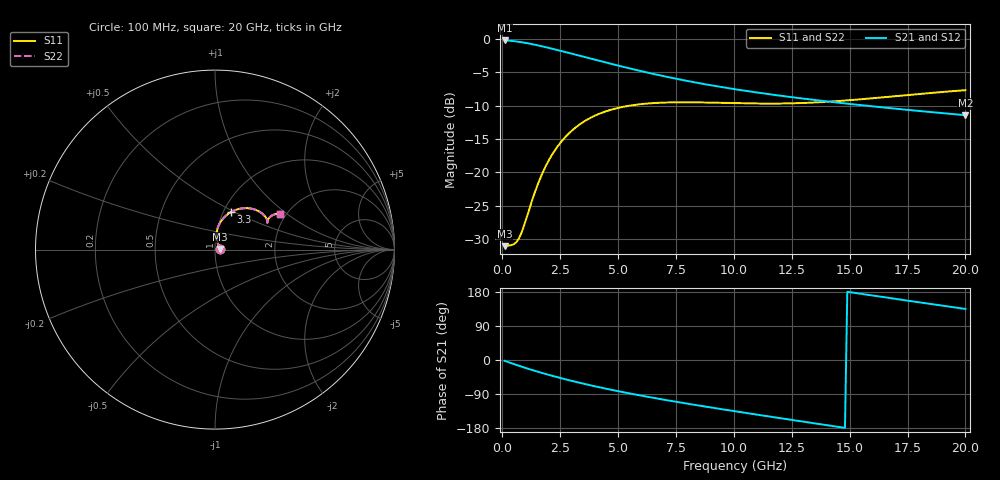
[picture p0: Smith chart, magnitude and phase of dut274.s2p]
! Touchstone file exported from HFSS 2024.1.0
!  File:  C:/UserFiles/LocalFiles/RDL_TSV_Batchsim/temp_RDL_TSV_274_1779462629.aedt
!  Generated:  11:26:38 PM May 22, 2026
!  Design:  RDL_TSV
!  Project:  temp_RDL_TSV_274_1779462629
!  Setup:  Setup1
!  Solution:  Sweep
! Variables:
!  dtsv = 13.28um
!  hbump = 3um
!  htsv = 79.18um
!  ldown = 640.58um
!  lrdl = 269.3um
!  p = 40
!  p1 = 59.87um
!  rhole = 10um
!  subl = 2998.94um
!  t = 450um
!  tdown = 2.37um
!  trdl = 2.86um
!  viad = 10um
!  wdown = 17.74um
!  wrdl = 10.58um
!  xbump = 18um
# GHz S MA R 50.000000
! Terminal data exported
! Port[1] = TM1_1_T1
! Port[2] = TM1_4_T1
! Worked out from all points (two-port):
!   200 points, 100 MHz to 20 GHz, reference 50 ohm
!   highest |S21| = -0.25 dB at 100 MHz (marker M1); lowest = -11.4 dB at 20 GHz (marker M2)
!   |S21| within 3 dB of the highest: start of sweep to 4.141 GHz
!   lowest |S11| = -31.0 dB at 100 MHz (marker M3), VSWR 1.06, Z = 52.9 + j0.334 ohm
!   |S11| at or under -10 dB: start of sweep to 5.508 GHz
!   |S22| runs from -31.0 to -7.7 dB; largest |S21 - S12| = 3.8e-14
!   S11 on the Smith chart (normalised r, x): 100 MHz: 1.06, +0.01; 3.3 GHz: 1.08, +0.48; 20 GHz: 1.85, +0.89
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0.1  0.02809 6.4  0.9714 -2.2  0.9714 -2.2  0.02809 6.4
! Gamma 0 0 0 0
! Port Impedance 50 0 50 0
0.5  0.02908 33.8  0.9599 -10.8  0.9599 -10.8  0.02908 33.8
0.7  0.0317 50.4  0.95 -14.9  0.95 -14.9  0.03169 50.4
0.9  0.03821 65.7  0.9383 -18.9  0.9383 -18.9  0.0382 65.7
1.3  0.06274 81.9  0.9106 -26.6  0.9106 -26.6  0.06273 81.9
1.6  0.08715 84.6  0.8875 -32.1  0.8875 -32.1  0.08713 84.6
2  0.1225 82.9  0.8552 -39.1  0.8552 -39.1  0.1225 82.8
2.4  0.1576 78.6  0.8225 -45.7  0.8225 -45.7  0.1575 78.6
2.8  0.1902 73.6  0.79 -52.1  0.79 -52.1  0.1902 73.6
3.3  0.2261 67.2  0.7503 -59.6  0.7503 -59.6  0.226 67.1
3.5  0.2387 64.7  0.7349 -62.4  0.7349 -62.4  0.2386 64.7
4.2  0.2753 56.6  0.6835 -72.1  0.6835 -72.1  0.2752 56.6
5.1  0.3067 47.9  0.624 -83.5  0.624 -83.5  0.3067 47.9
5.9  0.3231 41.7  0.5778 -92.9  0.5778 -92.9  0.323 41.7
6.8  0.3323 36.3  0.5329 -102.8  0.5329 -102.8  0.3322 36.3
8.3  0.3346 30.4  0.4724 -118.3  0.4724 -118.3  0.3345 30.4
10.1  0.3295 27.4  0.4181 -135.8  0.4181 -135.8  0.3294 27.4
11.7  0.3274 27.5  0.3812 -150.7  0.3812 -150.7  0.3273 27.4
13.4  0.3332 28.9  0.35 -166.4  0.35 -166.4  0.3331 28.8
15  0.3472 30.3  0.3256 179.1  0.3256 179.1  0.347 30.2
16.7  0.3684 30.9  0.3033 163.8  0.3033 163.8  0.3681 30.8
20  0.4125 29.0  0.2682 134.7  0.2682 134.7  0.4122 29.0
